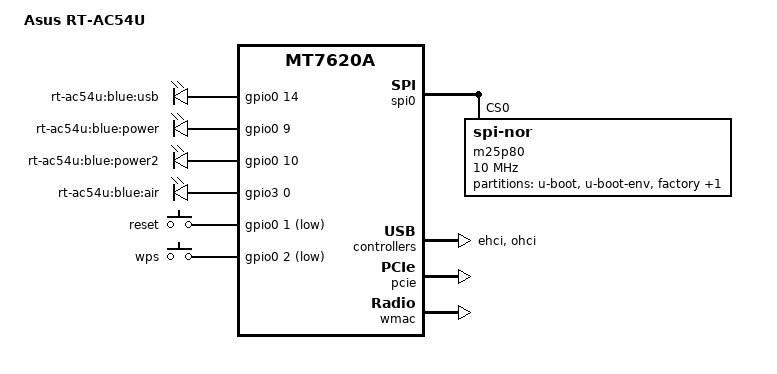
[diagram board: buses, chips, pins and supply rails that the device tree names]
/dts-v1/;

#include "mt7620a.dtsi"

/ {
	compatible = "asus,rt-ac54u", "ralink,mt7620a-soc";
	model = "Asus RT-AC54U";

	gpio-leds {
		compatible = "gpio-leds";
		usb {
			label = "rt-ac54u:blue:usb";
			gpios = <&gpio0 14 0>;
		};

		power {
			label = "rt-ac54u:blue:power";
			gpios = <&gpio0 9 0>;
		};

		power2 {
			label = "rt-ac54u:blue:power2";
			gpios = <&gpio0 10 0>;
		};

		air {
			label = "rt-ac54u:blue:air";
			gpios = <&gpio3 0 0>;
		};
	};

	gpio-keys-polled {
		compatible = "gpio-keys-polled";
		#address-cells = <1>;
		#size-cells = <0>;
		poll-interval = <20>;

		reset {
			label = "reset";
			gpios = <&gpio0 1 1>;
			linux,code = <0x198>;
		};

		wps {
			label = "wps";
			gpios = <&gpio0 2 1>;
			linux,code = <0x211>;
		};
	};
};

&gpio2 {
	status = "okay";
};

&gpio3 {
	status = "okay";
};

&spi0 {
	status = "okay";

	m25p80@0 {
		#address-cells = <1>;
		#size-cells = <1>;
		compatible = "jedec,spi-nor";
		reg = <0>;
		linux,modalias = "m25p80", "w25q128";
		spi-max-frequency = <10000000>;

		partition@0 {
			label = "u-boot";
			reg = <0x0 0x30000>;
			read-only;
		};

		partition@30000 {
			label = "u-boot-env";
			reg = <0x30000 0x10000>;
			read-only;
		};

		factory: partition@40000 {
			label = "factory";
			reg = <0x40000 0x10000>;
			read-only;
		};

		partition@50000 {
			label = "firmware";
			reg = <0x50000 0xfb0000>;
		};
	};
};

&ehci {
	status = "okay";
};

&ohci {
	status = "okay";
};

&ethernet {
	mtd-mac-address = <&factory 0x4>;
	mediatek,portmap = "wllll";
};

&pcie {
	status = "okay";

	pcie-bridge {
		mt76@0,0 {
			reg = <0x0000 0 0 0 0>;
			device_type = "pci";
			mediatek,mtd-eeprom = <&factory 0x8000>;
			mediatek,2ghz = <0>;
		};
	};
};

&wmac {
	ralink,mtd-eeprom = <&factory 0>;
};

&pinctrl {
	state_default: pinctrl0 {
		default {
			ralink,group = "uartf", "i2c", "nd_sd", "wled";
			ralink,function = "gpio";
		};
	};
};
